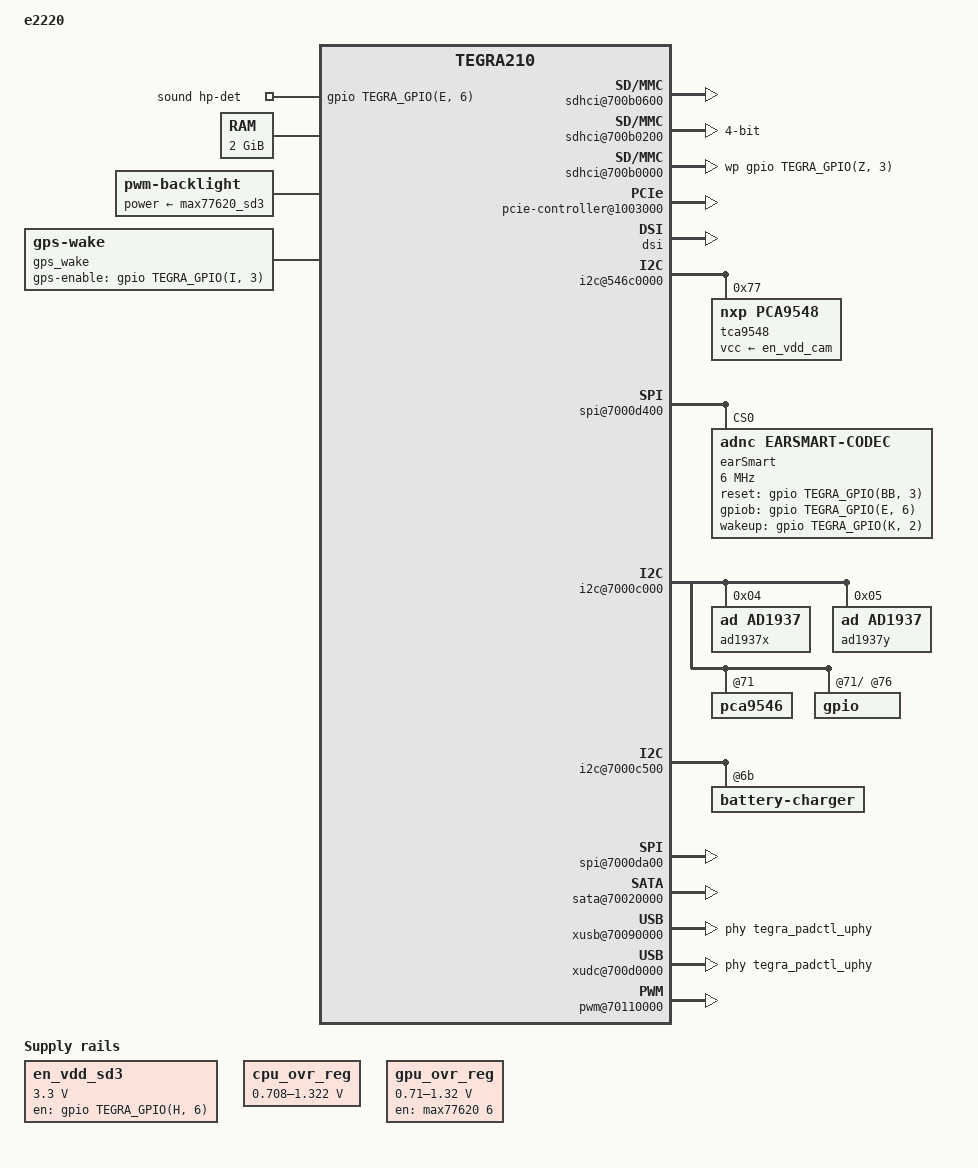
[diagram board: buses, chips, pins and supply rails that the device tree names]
/*
 * T210- DSC
 *
 * arch/arm64/boot/dts/tegra210-ers-e2220-1170-a00-00.dts
 *
 * Copyright (c) 2015-2017, NVIDIA CORPORATION.  All rights reserved.
 *
 * This program is free software; you can redistribute it and/or modify
 * it under the terms of the GNU General Public License as published by
 * the Free Software Foundation; version 2 of the License.
 *
 * This program is distributed in the hope that it will be useful, but WITHOUT
 * ANY WARRANTY; without even the implied warranty of MERCHANTABILITY or
 * FITNESS FOR A PARTICULAR PURPOSE.  See the GNU General Public License for
 * more details.
 *
 * You should have received a copy of the GNU General Public License along
 * with this program; if not, write to the Free Software Foundation, Inc.,
 * 51 Franklin Street, Fifth Floor, Boston, MA  02110-1301, USA.
 *
 */

/dts-v1/;

/memreserve/ 0x80000000 0x00020000;

#include "tegra210-ers-common.dtsi"
#include "ers-platforms/tegra210-ers-extgpio-e2220-1170-a00.dtsi"
#include "ers-platforms/tegra210-ers-power-tree-e2174-1101-a00.dtsi"
#include "ers-platforms/tegra210-ers-e2220-powermon-e2174-1100-a00-00.dtsi"
#include "ers-platforms/tegra210-ers-sensor-e2160-1000-a00.dtsi"
#include "ers-platforms/tegra210-ers-gpio-e2220-1170-a00.dtsi"
#include "ers-platforms/tegra210-ers-pinmux-e2220-1170-a00.dtsi"
#include <t210-common-platforms/tegra210-comms.dtsi>
#include <tegra210-soc/tegra210-sdhci.dtsi>
#include <tegra210-soc/tegra210-audio.dtsi>
#include <panels/panel-j-1440-810-5-8.dtsi>
#include <panels/panel-a-wuxga-8-0.dtsi>
#include <panels/panel-s-wqxga-10-1.dtsi>
#include <panels/panel-a-edp-1080p-14-0.dtsi>
#include <t210-common-platforms/tegra210-ers-hdmi-e2190-1100-a00.dtsi>
#include "ers-platforms/tegra210-ers-dp-e2220-1170-a00.dtsi"
#include <t210-common-platforms/tegra210-ers-keys-e2220-1170-a00.dtsi>
#include "ers-platforms/tegra210-ers-camera-e2249-1002-a00.dtsi"
#include "ers-platforms/tegra210-ers-pwm-fan-e2220-1170-a00.dtsi"
#include <tegra210-soc/tegra210-edp.dtsi>
#include <t210-common-platforms/tegra210-ers-thermal-nct72-e2220-1170-a00.dtsi>
#include <tegra210-soc/tegra210-thermal-Tboard-Tdiode.dtsi>
#include <dt-bindings/sound/tegra-asoc-alt.h>
#include <dt-bindings/platform/t210/t210.h>
#include <dt-bindings/reset/tegra210-car.h>
#include <t210-common-platforms/tegra210-cpufreq.dtsi>
#include <dt-bindings/thermal/tegra210-trips.h>

/ {
	model = "e2220";
	compatible = "nvidia,e2220", "nvidia,tegra210";
	nvidia,boardids = "2220:1100:00;2174:1101:00";
	nvidia,dtsfilename = __FILE__;
	nvidia,proc-boardid = "2220:1100:00";
	nvidia,pmu-boardid = "2174:1101:00";
	nvidia,fastboot-usb-pid = <0x7100>;
	#address-cells = <2>;
	#size-cells = <2>;

	dvfs {
		compatible = "nvidia,tegra210-dvfs";
	};

	firmware {
		android {
			compatible = "android,firmware";
			hardware = "e2220";
		};
	};

	pmc@7000e400 {
		nvidia,invert-interrupt;
		nvidia,restrict-voltage-switch;
		iopad-defaults {
			audio-hv-pads {
				pins = "audio-hv";
				nvidia,power-source-voltage = <TEGRA_IO_PAD_VOLTAGE_1800000UV>;
			};

			spi-hv-pads {
				pins = "spi-hv";
				nvidia,power-source-voltage = <TEGRA_IO_PAD_VOLTAGE_1800000UV>;
			};

			gpio-pads {
				pins = "gpio";
				nvidia,power-source-voltage = <TEGRA_IO_PAD_VOLTAGE_1800000UV>;
			};

			sdmmc-io-pads {
				pins = "sdmmc1", "sdmmc3";
				nvidia,enable-voltage-switching;
			};
		};
	};

	chosen {
		bootargs = "earlycon=uart8250,mmio32,0x70006000";
		stdout-path = &uarta;
	};

	firmware {
		android {
			compatible = "android,firmware";
			hardware = "e2220";
		};
	};

	sdhci@700b0600 {
		vddio_sdmmc-supply = <&max77620_sd3>;
		vddio_sd_slot-supply = <&vdd_3v3>;
		uhs-mask = <0x60>;
		built-in;
		power-off-rail;
		status = "okay";
	};

	sdhci@700b0400 {
		uhs-mask = <0x1c>;
		vddio_sdmmc-supply = <&max77620_sd3>;
		vddio_sd_slot-supply = <&en_vdd_sd3>;
		power-off-rail;
		nvidia,update-pinctrl-settings;
		status = "disabled";
	};

	sdhci@700b0200 {
		nvidia,is-ddr-tap-delay;
		nvidia,ddr-tap-delay = <0>;
		vddio_sdmmc-supply = <&max77620_sd3>;
		vddio_sd_slot-supply = <&vdd_3v3>;
		uhs-mask = <0x8>;
		bus-width = <4>;
		power-off-rail;
		status = "okay";
	};

	sdhci@700b0000 {
		uhs-mask = <0x8>;
		power-off-rail;
		default-drive-type = <1>;
		vddio_sdmmc-supply = <&max77620_ldo2>;
		vddio_sd_slot-supply = <&en_vdd_sd>;
		nvidia,update-pinctrl-settings;
		nvidia,sd-device;
		wp-gpios = <&gpio TEGRA_GPIO(Z, 3) 0>;
		status = "okay";
	};

	pcie-controller@1003000 {
		nvidia,wake-gpio = <&gpio TEGRA_GPIO(A, 2) 0>;
		dvdd-pex-pll-supply = <&max77620_ldo1>;
		l0-dvddio-pex-supply = <&max77620_ldo1>;
		l1-dvddio-pex-supply = <&max77620_ldo1>;
		l2-dvddio-pex-supply = <&max77620_ldo1>;
		l3-dvddio-pex-supply = <&max77620_ldo1>;
		l4-dvddio-pex-supply = <&max77620_ldo1>;
		l5-dvddio-pex-supply = <&max77620_ldo1>;
		l6-dvddio-pex-supply = <&max77620_ldo1>;
		hvdd-pex-pll-e-supply = <&max77620_sd3>;
		l0-hvddio-pex-supply = <&max77620_sd3>;
		l1-hvddio-pex-supply = <&max77620_sd3>;
		l2-hvddio-pex-supply = <&max77620_sd3>;
		l3-hvddio-pex-supply = <&max77620_sd3>;
		l4-hvddio-pex-supply = <&max77620_sd3>;
		l5-hvddio-pex-supply = <&max77620_sd3>;
		l6-hvddio-pex-supply = <&max77620_sd3>;
		vddio-pex-ctl-supply = <&max77620_sd3>;
		status = "okay";
		pci@1,0 {
			nvidia,num-lanes = <4>;
			status = "okay";
		};

		pci@2,0 {
			nvidia,num-lanes = <1>;
			status = "okay";
		};
	};

	host1x {
		/* tegradc.0 */
		dc@54200000 {
			status = "okay";
			nvidia,dc-flags = <TEGRA_DC_FLAG_ENABLED>;
			nvidia,emc-clk-rate = <204000000>;
			nvidia,cmu-enable = <1>;
			nvidia,low-v-win = <0x2>;
			nvidia,fb-bpp = <32>; /* bits per pixel */
			nvidia,fb-flags = <TEGRA_FB_FLIP_ON_PROBE>;
			nvidia,dc-or-node = "/host1x/dsi";
			nvidia,dc-connector = <&dsi>;
		};
		/* tegradc.1 */
		dc@54240000 {
			status = "okay";
			nvidia,dc-flags = <TEGRA_DC_FLAG_ENABLED>;
			nvidia,emc-clk-rate = <300000000>;
			nvidia,fb-bpp = <32>; /* bits per pixel */
			nvidia,fb-flags = <TEGRA_FB_FLIP_ON_PROBE>;
			nvidia,dc-or-node = "/host1x/sor1";
			nvidia,dc-connector = <&sor1>;
		};
		dsi {
			nvidia,dsi-controller-vs = <DSI_VS_1>;
			status = "okay";
			panel-j-1440-810-5-8 {
				nvidia,dsi-dpd-pads = <DSIC_DPD_EN DSID_DPD_EN>;
				nvidia,panel-rst-gpio = <&gpio TEGRA_GPIO(V, 2) 0>; /* PV2 */
				nvidia,panel-bl-pwm-gpio = <&gpio TEGRA_GPIO(V, 0) 0>; /* PV0 */
				nvidia,panel-en-gpio = <&gpio TEGRA_GPIO(V, 1) 0>; /* PV1 */
			};
			panel-a-wuxga-8-0 {
				nvidia,dsi-dpd-pads = <DSIC_DPD_EN DSID_DPD_EN>;
				nvidia,panel-rst-gpio = <&gpio TEGRA_GPIO(V, 2) 0>; /* PV2 */
				nvidia,panel-bl-pwm-gpio = <&gpio TEGRA_GPIO(V, 0) 0>; /* PV0 */
				nvidia,panel-en-gpio = <&gpio TEGRA_GPIO(V, 1) 0>; /* PV1 */
			};
			panel-s-wqxga-10-1 {
				nvidia,panel-rst-gpio = <&gpio TEGRA_GPIO(V, 2) 0>; /* PV2 */
				nvidia,panel-bl-pwm-gpio = <&gpio TEGRA_GPIO(V, 0) 0>; /* PV0 */
				nvidia,panel-en-gpio = <&gpio TEGRA_GPIO(V, 1) 0>; /* PV1 */
			};
		};
		sor {
			status = "okay";
			nvidia,hpd-gpio = <&gpio 230 0>; /*PCC6*/
			panel-a-edp-1080p-14-0 {
				nvidia,panel-bl-pwm-gpio = <&gpio TEGRA_GPIO(V, 0) 0>; /* PV0 */
			};
		};
		dpaux {
			status = "okay";
		};
		sor1 {
			status = "okay";
			hdmi-display {
				display-timings {
					640x480-60Hz {
						clock-frequency = <25200>;
						hactive = <640>;
						vactive = <480>;
						hfront-porch = <16>;
						hback-porch = <48>;
						hsync-len = <96>;
						vfront-porch = <10>;
						vback-porch = <33>;
						vsync-len = <2>;
						nvidia,h-ref-to-sync = <1>;
						nvidia,v-ref-to-sync = <3>;
					};
				};
			};
		};
		dpaux1 {
			status = "okay";
		};

		vi {
			status = "okay";

			avdd_dsi_csi-supply = <&max77620_gpio7>;
		};
	};

	spi@7000d400 {
		status = "okay";
		earSmart: earSmart-codec@0 {
			compatible = "adnc,earSmart-codec";
			reg = <0>;
			spi-max-frequency = <6000000>;
			spi-cpha;

			adnc,reset-gpio = <&gpio TEGRA_GPIO(BB, 3) GPIO_ACTIVE_HIGH>;
			adnc,gpiob-gpio = <&gpio TEGRA_GPIO(E, 6) GPIO_ACTIVE_HIGH>;
			adnc,wakeup-gpio = <&gpio TEGRA_GPIO(K, 2) GPIO_ACTIVE_HIGH>;

			adnc,int-gpio = <(-1)>;
			adnc,gpioa-gpio = <(-1)>;
			adnc,enable_hs_uart_intf = <0>;
			adnc,ext_clk_rate = <0>;
			adnc,debounce_timer = <3>;
			adnc,plug_det_enabled = <1>;
			adnc,mic_det_enabled = <1>;

			adnc,gpio_b_irq_type = <4>;
			adnc,cmd_comp_mode = <0>;

			/* Button Control 1 */
			adnc,btn_press_settling_time = <4>;
			adnc,btn_press_polling_rate = <1>;
			adnc,btn_press_det_act = <1>;

			/* Button Control 2 */
			adnc,double_btn_timer = <(-1)>;
			adnc,mic_det_settling_timer = <(-1)>;

			/* Button Control 3 */
			adnc,long_btn_timer = <(-1)>;
			adnc,adc_btn_mute = <(-1)>;

			/* Button Control 4 */
			adnc,valid_levels = <31>;
			adnc,impd_det_timer = <0>;
		};
	};

	i2c@7000c000 {
		ad1937x: ad193x.0-0004@04 {
			compatible = "ad,ad1937";
			reg = <0x04>;
		};
		ad1937y: ad193x.0-0005@05 {
			compatible = "ad,ad1937";
			reg = <0x05>;
		};
		pca9546@71 {
			i2c@3 {
				gpio@76 {
					default-output-low {
						gpio-hog;
						output-low;
						gpios = <12 0 14 0 15 0>;
						line-name = "default-output-low";
					};

					default-output-high {
						gpio-hog;
						output-high;
						gpios = <5 0 6 0 11 0 13 0>;
						line-name = "default-output-high";
					};
				};
			};
		};
	};

	i2c@7000c500 {
		battery-charger@6b {
			usb0_vbus: vbus {
				regulator-enable-ramp-delay = <260000>;
			};
		};
	};

	adma@702e2000  {
		dma-channels = <10>;
		status = "okay";
	};

	ahub {
		i2s@702d1000 {
			pinctrl-names = "dap_active", "dap_inactive";
			pinctrl-0 = <>;
			pinctrl-1 = <>;
			regulator-supplies = "vdd-1v8-audio-hv", "vdd-1v8-audio-hv-bias";
			vdd-1v8-audio-hv-supply = <&max77620_sd3>;
			vdd-1v8-audio-hv-bias-supply = <&max77620_sd3>;
			fsync-width = <31>;
		};

		i2s@702d1100 {
			pinctrl-names = "dap_active", "dap_inactive";
			pinctrl-0 = <>;
			pinctrl-1 = <>;
			regulator-supplies = "vdd-1v8-spi-hv", "vdd-1v8-spi-hv-bias";
			vdd-1v8-spi-hv-supply = <&max77620_sd3>;
			vdd-1v8-spi-hv-bias-supply = <&max77620_sd3>;
			fsync-width = <0>;
		};

		i2s@702d1300 {
			pinctrl-names = "dap_active", "dap_inactive";
			pinctrl-0 = <>;
			pinctrl-1 = <>;
			regulator-supplies = "vddio-dmic";
			vddio-dmic-supply = <&max77620_sd3>;
			enable-cya; /* enable I2S4_CYA bit to select i2s4b pin */
		};
	};

	sound {
		compatible = "nvidia,tegra-audio-t210ref-mobile-es755";
		nvidia,model = "tegra-snd-t210ref-mobile-es755";
		nvidia,hp-det-gpios = <&gpio TEGRA_GPIO(E, 6) GPIO_ACTIVE_HIGH>;
		nvidia,num-codec-link = <4>;

		nvidia,audio-routing =
			"y Headphone", 	"y OUT",
			"y IN",		"y Mic",
			"k Headphone", 	"k OUT",
			"k IN",		"k Mic",
			"z Headphone", 	"z OUT",
			"z IN",		"z Mic",
			"z IN",		"z OUT";

		nvidia,xbar = <&tegra_axbar>;

		nvidia,dai-link-1 {
			link-name = "earSmart-playback";
			cpu-dai = <&tegra_i2s1>;
			codec-dai = <&earSmart>;
			cpu-dai-name = "I2S1";
			codec-dai-name = "earSmart-porta";
			format = "i2s";
			bitclock-slave;
			frame-slave;
			bitclock-noninversion;
			frame-noninversion;
			bit-format = "s16_le";
			bclk_ratio = <0>;
			srate = <48000>;
			num-channel = <2>;
			name-prefix = "x";
		};
		nvidia,dai-link-2 {
			link-name = "spdif-dit-1";
			cpu-dai = <&tegra_i2s2>;
			codec-dai = <&spdif_dit1>;
			cpu-dai-name = "I2S2";
			codec-dai-name = "dit-hifi";
			format = "dsp_a";
			bitclock-slave;
			frame-slave;
			bitclock-inversion;
			frame-noninversion;
			bit-format = "s16_le";
			bclk_ratio = <4>;
			srate = <8000>;
			num-channel = <1>;
			name-prefix = "y";
		};
		nvidia,dai-link-3 {
			link-name = "spdif-dit-2";
			cpu-dai = <&tegra_i2s3>;
			codec-dai = <&spdif_dit2>;
			cpu-dai-name = "I2S3";
			codec-dai-name = "dit-hifi";
			format = "i2s";
			bitclock-slave;
			frame-slave;
			bitclock-noninversion;
			frame-noninversion;
			bit-format = "s16_le";
			bclk_ratio = <0>;
			srate = <48000>;
			num-channel = <2>;
			name-prefix = "z";
		};
		nvidia,dai-link-4 {
			link-name = "baseband";
			cpu-dai = <&tegra_i2s4>;
			codec-dai = <&spdif_dit3>;
			cpu-dai-name = "I2S4";
			codec-dai-name = "dit-hifi";
			format = "i2s";
			bitclock-slave;
			frame-slave;
			bitclock-noninversion;
			frame-noninversion;
			bit-format = "s16_le";
			bclk_ratio = <0>;
			srate = <16000>;
			num-channel = <2>;
			name-prefix = "k";
		};
	};

	adsp_audio {
		compr-ops = <1>;
		num-plugin = <3>;
		plugin-info-1 {
			plugin-name = "mp3-dec1";
			firmware-name = "nvmp3dec.elf";
			widget-name = "MP3-DEC1";
		};
		plugin-info-2 {
			plugin-name = "mp3-dec2";
			firmware-name = "nvmp3dec.elf";
			widget-name = "MP3-DEC2";
		};
		plugin-info-3 {
			plugin-name = "spkprot";
			firmware-name = "nvspkprot.elf";
			widget-name = "SPKPROT-SW";
		};
	};

	sound_ref {
		compatible = "nvidia,tegra-audio-t210ref";
		nvidia,model = "tegra-snd-t210ref";
		nvidia,num-codec-link = <2>;
		nvidia,num-amx = <2>;
		nvidia,num-adx = <2>;
		nvidia,amx-slot-size = <32 32>;
		nvidia,adx-slot-size = <32 32>;
		nvidia,addr-max9485 = <0>;
		nvidia,amx-slot-map = <
			/* jack 0 */
			TDM_SLOT_MAP(0, 0, 0)
			TDM_SLOT_MAP(0, 0, 0)
			TDM_SLOT_MAP(0, 1, 0)
			TDM_SLOT_MAP(0, 1, 1)
			TDM_SLOT_MAP(0, 0, 0)
			TDM_SLOT_MAP(0, 0, 0)
			TDM_SLOT_MAP(0, 2, 0)
			TDM_SLOT_MAP(0, 2, 1)
			/* jack 1 */
			TDM_SLOT_MAP(0, 0, 0)
			TDM_SLOT_MAP(0, 0, 0)
			TDM_SLOT_MAP(1, 1, 0)
			TDM_SLOT_MAP(1, 1, 1)
			TDM_SLOT_MAP(0, 0, 0)
			TDM_SLOT_MAP(0, 0, 0)
			TDM_SLOT_MAP(1, 2, 0)
			TDM_SLOT_MAP(1, 2, 1)
			/* jack 2 */
			TDM_SLOT_MAP(0, 0, 0)
			TDM_SLOT_MAP(0, 0, 0)
			TDM_SLOT_MAP(2, 1, 0)
			TDM_SLOT_MAP(2, 1, 1)
			TDM_SLOT_MAP(0, 0, 0)
			TDM_SLOT_MAP(0, 0, 0)
			TDM_SLOT_MAP(2, 2, 0)
			TDM_SLOT_MAP(2, 2, 1)
			/* jack 3 */
			TDM_SLOT_MAP(0, 0, 0)
			TDM_SLOT_MAP(0, 0, 0)
			TDM_SLOT_MAP(3, 1, 0)
			TDM_SLOT_MAP(3, 1, 1)
			TDM_SLOT_MAP(0, 0, 0)
			TDM_SLOT_MAP(0, 0, 0)
			TDM_SLOT_MAP(3, 2, 0)
			TDM_SLOT_MAP(3, 2, 1)>;
		nvidia,adx-slot-map = <
			/* jack 0 */
			TDM_SLOT_MAP(0, 0, 0)
			TDM_SLOT_MAP(0, 0, 0)
			TDM_SLOT_MAP(0, 1, 0)
			TDM_SLOT_MAP(0, 1, 1)
			TDM_SLOT_MAP(0, 0, 0)
			TDM_SLOT_MAP(0, 0, 0)
			TDM_SLOT_MAP(0, 2, 0)
			TDM_SLOT_MAP(0, 2, 1)
			/* jack 1 */
			TDM_SLOT_MAP(0, 0, 0)
			TDM_SLOT_MAP(0, 0, 0)
			TDM_SLOT_MAP(1, 1, 0)
			TDM_SLOT_MAP(1, 1, 1)
			TDM_SLOT_MAP(0, 0, 0)
			TDM_SLOT_MAP(0, 0, 0)
			TDM_SLOT_MAP(1, 2, 0)
			TDM_SLOT_MAP(1, 2, 1)
			/* jack 2 */
			TDM_SLOT_MAP(0, 0, 0)
			TDM_SLOT_MAP(0, 0, 0)
			TDM_SLOT_MAP(2, 1, 0)
			TDM_SLOT_MAP(2, 1, 1)
			TDM_SLOT_MAP(0, 0, 0)
			TDM_SLOT_MAP(0, 0, 0)
			TDM_SLOT_MAP(2, 2, 0)
			TDM_SLOT_MAP(2, 2, 1)
			/* jack 3 */
			TDM_SLOT_MAP(0, 0, 0)
			TDM_SLOT_MAP(0, 0, 0)
			TDM_SLOT_MAP(3, 1, 0)
			TDM_SLOT_MAP(3, 1, 1)
			TDM_SLOT_MAP(0, 0, 0)
			TDM_SLOT_MAP(0, 0, 0)
			TDM_SLOT_MAP(3, 2, 0)
			TDM_SLOT_MAP(3, 2, 1)>;

		nvidia,audio-routing =
			"Headphone-x", 	"x DAC1OUT",
			"Headphone-x", 	"x DAC2OUT",
			"Headphone-x", 	"x DAC3OUT",
			"Headphone-x", 	"x DAC4OUT",
			"x ADC1IN",	"LineIn-x",
			"x ADC2IN",	"LineIn-x",

			"Headphone-y", 	"y DAC1OUT",
			"Headphone-y", 	"y DAC2OUT",
			"Headphone-y", 	"y DAC3OUT",
			"Headphone-y", 	"y DAC4OUT",
			"y ADC1IN",	"LineIn-y",
			"y ADC2IN",	"LineIn-y";

		nvidia,xbar = <&tegra_axbar>;

		nvidia,dai-link-1 {
			link-name = "ad-playback-x";
			cpu-dai = <&tegra_i2s1>;
			codec-dai = <&ad1937x>;
			cpu-dai-name = "I2S1";
			codec-dai-name = "ad193x-hifi";
			tx-mask = <0xFF>;
			rx-mask = <0xFF>;
			format = "dsp_a";
			bitclock-slave;
			frame-slave;
			bitclock-noninversion;
			frame-inversion;
			bit-format = "s32_le";
			bclk_ratio = <1>;
			srate = <48000>;
			num-channel = <8>;
			name-prefix = "x";
		};
		nvidia,dai-link-2 {
			link-name = "ad-playback-y";
			cpu-dai = <&tegra_i2s2>;
			codec-dai = <&ad1937y>;
			cpu-dai-name = "I2S2";
			codec-dai-name = "ad193x-hifi";
			tx-mask = <0xFF>;
			rx-mask = <0xFF>;
			format = "dsp_a";
			bitclock-master;
			frame-master;
			bitclock-noninversion;
			frame-inversion;
			bit-format = "s32_le";
			bclk_ratio = <1>;
			srate = <48000>;
			num-channel = <8>;
			name-prefix = "y";
		};
	};

	spi@7000da00 {
		status = "okay";
		spi-max-frequency = <25000000>;
	};

	memory@80000000 {
		device_type = "memory";
		reg = < 0x0 0x80000000 0x0 0x80000000>;
	};

        sata@70020000 {
		status = "okay";
		compatible = "nvidia,tegra210-ahci-sata";
		nvidia,pexp-gpio = <&pca9539_76 11 0>, <&pca9539_76 12 0>;
		nvidia,enable-sata-port;
        };

	regulators {
		en_vdd_sd3: regulator@12 {
			compatible = "regulator-fixed-sync";
			reg = <12>;
			regulator-name = "en-vdd-sd3";
			regulator-min-microvolt = <3300000>;
			regulator-max-microvolt = <3300000>;
			gpio = <&gpio TEGRA_GPIO(H, 6) 0>;
			enable-active-high;
		};
	};

	backlight {
		compatible = "pwm-backlight";
		status = "okay";
		power-supply = <&max77620_sd3>;
		panel-j-1440-810-5-8-bl {
			pwms = <&tegra_pwm 0 29334>;
		};
		panel-a-wuxga-8-0-bl {
			pwms = <&tegra_pwm 0 40161>;
		};
		panel-s-wqxga-10-1-bl {
			pwms = <&tegra_pwm 0 1000000>;
		};
		panel-a-edp-1080p-14-0-bl {
			pwms = <&tegra_pwm 0 1000000>;
		};
	};

	camera-pcl {
		profiles {
			imx214-pcl@x_001a {
				use_of_node = "yes";
				vana-supply = <&max77620_ldo3>;
				vdig-supply = <&vdd_sys_boost>;
				vif-supply = <&en_vdd_cam>;
				af-gpios = <&gpio TEGRA_GPIO(S, 5) 0>;
				reset-gpios = <&gpio TEGRA_GPIO(S, 7) 0>;
				cam1-gpios = <&gpio TEGRA_GPIO(S, 7) 0>;
			};
			dw9714-pcl@x_000c {
				use_of_node = "yes";
				vdd-supply = <&max77620_ldo3>;
				vdd_i2c-supply = <&en_vdd_cam>;
				/* platform data */
				dev_name = "focuser";
				num = <0>;
				sync = <0>;
			};
			as3648-pcl@x_0030 {
				use_of_node = "yes";
				vin-supply = <&vdd_sys_boost>;
				vi2c-supply = <&en_vdd_cam>;
				/* platform data */
				dev_name = "torch";
				num = <0>;
				flash-type = <2>; /* 0-AS3643, 1-AS3647, 2-AS3648 */
				strobe-gpio = <TEGRA_GPIO(S, 6)>;
				strobe-type = <1> ; /* 1=edge, 2=level, 3=i2c */
				/* pin state */
				pin-mask = <0x10>;
				pin-value = <0x10>;
			};
			ov5693-pcl@x_0036 {
				use_of_node = "yes";
				dev_name = "ov5693";
				num = <1>;
				vana-supply = <&max77620_ldo3>;
				vif-supply = <&en_vdd_cam>;
				cam2-gpios = <&gpio TEGRA_GPIO(T, 0) 0>;
			};
			ov5693-pcl@a_0036 {
				use_of_node = "yes";
				dev_name = "ov5693";
				num = <0>;
				vana-supply = <&max77620_ldo3>;
				vif-supply = <&en_vdd_cam>;
				cam2-gpios = <&gpio TEGRA_GPIO(S, 7) 0>;
				cam,use-cam-gpio;
			};
			ov5693@b_0036 {
				use_of_node = "yes";
				dev_name = "ov5693";
				num = <1>;
				vana-supply = <&max77620_ldo3>;
				vif-supply = <&en_vdd_cam>;
				cam2-gpios = <&gpio TEGRA_GPIO(T, 0) 0>;
				cam,use-cam-gpio;
			};
			ov5693-pcl@c_0036 {
				use_of_node = "yes";
				dev_name = "ov5693";
				num = <2>;
				vana-supply = <&max77620_ldo3>;
				vif-supply = <&en_vdd_cam>;
				cam2-gpios = <&gpio TEGRA_GPIO(T, 0) 0>;
				cam,use-cam-gpio;
			};
			ov5693-pcl@d_0036 {
				use_of_node = "yes";
				dev_name = "ov5693";
				num = <3>;
				vana-supply = <&max77620_ldo3>;
				vif-supply = <&en_vdd_cam>;
				cam2-gpios = <&gpio TEGRA_GPIO(S, 7) 0>;
				cam,use-cam-gpio;
			};
			ov5693-pcl@e_0036 {
				use_of_node = "yes";
				dev_name = "ov5693";
				num = <4>;
				vana-supply = <&max77620_ldo3>;
				vif-supply = <&en_vdd_cam>;
				cam2-gpios = <&gpio TEGRA_GPIO(Z, 3) 0>;
				cam,use-cam-gpio;
			};
			ov5693-pcl@f_0036 {
				use_of_node = "yes";
				dev_name = "ov5693";
				num = <5>;
				vana-supply = <&max77620_ldo3>;
				vif-supply = <&en_vdd_cam>;
				cam2-gpios = <&gpio TEGRA_GPIO(T, 1) 0>;
				cam,use-cam-gpio;
			};
		};
		dpd {
			default-enable;
		};
	};

	mailbox@70098000 {
		status = "okay";
	};

	/* Put common control config here */
	pinctrl@7009f000 {
		status = "okay";
		pinctrl-0 = <&tegra_padctl_uphy_pinmux_default>;
		pinctrl-names = "default";
		tegra_padctl_uphy_pinmux_default: pinmux {
			usb2-micro-AB {
				 nvidia,lanes = "otg-0";
				 nvidia,function = "xusb";
				 nvidia,port-cap =
					<TEGRA_PADCTL_PORT_OTG_CAP>;
			};
			usb3-micro-AB {
				nvidia,lanes = "uphy-lane-6";
				nvidia,function = "usb3";
				nvidia,usb3-port = <0x0>;
				nvidia,usb2-map = <0x0>;
				nvidia,port-cap =
					<TEGRA_PADCTL_PORT_OTG_CAP>;
			};
			usb2-std-A-J8130 {
				 nvidia,lanes = "otg-3";
				 nvidia,function = "xusb";
				 nvidia,port-cap =
					<TEGRA_PADCTL_PORT_HOST_ONLY>;
			};
			usb3-std-A-J8130 {
				 nvidia,lanes = "uphy-lane-5";
				 nvidia,function = "usb3";
				 nvidia,usb3-port = <1>;
				 nvidia,usb2-map = <3>;
				 nvidia,port-cap =
					<TEGRA_PADCTL_PORT_HOST_ONLY>;
			};
			usb2-std-A-J8120 {
				 nvidia,lanes = "otg-2";
				 nvidia,function = "xusb";
				 nvidia,port-cap =
					<TEGRA_PADCTL_PORT_HOST_ONLY>;
			};
			usb3-std-A-J8120 {
				 nvidia,lanes = "uphy-lane-4";
				 nvidia,function = "usb3";
				 nvidia,usb3-port = <3>;
				 nvidia,usb2-map = <2>;
				 nvidia,port-cap =
					<TEGRA_PADCTL_PORT_HOST_ONLY>;
			};
			usb2-std-A-J8110 {
				 nvidia,lanes = "otg-1";
				 nvidia,function = "xusb";
				 nvidia,port-cap =
					<TEGRA_PADCTL_PORT_HOST_ONLY>;
			};
			usb3-std-A-J8110 {
				 nvidia,lanes = "uphy-lane-0";
				 nvidia,function = "usb3";
				 nvidia,usb3-port = <2>;
				 nvidia,usb2-map = <1>;
				 nvidia,port-cap =
					<TEGRA_PADCTL_PORT_HOST_ONLY>;
			};
			hsic {
				 nvidia,lanes = "hsic-0";
				 nvidia,function = "hsic";
			};
			sata {
				 nvidia,lanes = "uphy-lane-7";
				 nvidia,function = "sata";
			};
		};
	};

	xusb@70090000 {
		status = "okay";
		extcon-cables = <&id_gpio_extcon 0>;
		extcon-cable-names = "id";
		#extcon-cells = <1>;
		phys = <&tegra_padctl_uphy TEGRA_PADCTL_UPHY_UTMI_P(0)>,
			<&tegra_padctl_uphy TEGRA_PADCTL_UPHY_UTMI_P(1)>,
			<&tegra_padctl_uphy TEGRA_PADCTL_UPHY_UTMI_P(2)>,
			<&tegra_padctl_uphy TEGRA_PADCTL_UPHY_UTMI_P(3)>,
			<&tegra_padctl_uphy TEGRA_PADCTL_UPHY_USB3_P(0)>,
			<&tegra_padctl_uphy TEGRA_PADCTL_UPHY_USB3_P(1)>,
			<&tegra_padctl_uphy TEGRA_PADCTL_UPHY_USB3_P(2)>,
			<&tegra_padctl_uphy TEGRA_PADCTL_UPHY_USB3_P(3)>;
		phy-names = "utmi-0", "utmi-1", "utmi-2", "utmi-3",
				"usb3-0", "usb3-1", "usb3-2", "usb3-3";
		nvidia,pmc-wakeup =
			<&tegra_pmc
				PMC_WAKE_TYPE_EVENT 41 PMC_TRIGGER_TYPE_HIGH>,
			<&tegra_pmc
				PMC_WAKE_TYPE_EVENT 44 PMC_TRIGGER_TYPE_HIGH>;
	};

	xudc@700d0000 {
		extcon-cables = <&bq2419x 0>;
		extcon-cable-names = "vbus";
		#extcon-cells = <1>;
		status = "okay";
		phys =  <&tegra_padctl_uphy TEGRA_PADCTL_UPHY_UTMI_P(0)>,
			<&tegra_padctl_uphy TEGRA_PADCTL_UPHY_USB3_P(0)>;
		phy-names = "usb2", "usb3";
	};

	xotg {
		extcon-cables = <&id_gpio_extcon 0>;
		extcon-cable-names = "id";
		#extcon-cells = <1>;
		status = "disabled";
	};

	gpio-keys {
		home {
			status = "disabled";
		};
	};

	i2c@7000d000 {
		clock-frequency = <1000000>;
	};

	gpu-dvfs-rework {
		status = "disabled";
	};

	host1x {
		i2c@546c0000 {
			tca9548@6_0077 {
				compatible = "nxp,pca9548";
				reg = <0x77>;
				#address-cells = <1>;
				#size-cells = <0>;
				vcc-supply = <&en_vdd_cam>;
				skip_mux_detect;
				force_bus_start = <T210_CAMERA_I2C_MUX_BUS(0)>;
				i2c@0 {
					reg = <0>;
					i2c-mux,deselect-on-exit;
				};
				i2c@1 {
					reg = <1>;
					i2c-mux,deselect-on-exit;
				};
				i2c@2 {
					reg = <2>;
					i2c-mux,deselect-on-exit;
				};
				i2c@3 {
					reg = <3>;
					i2c-mux,deselect-on-exit;
				};
				i2c@4 {
					reg = <4>;
					i2c-mux,deselect-on-exit;
				};
				i2c@5 {
					reg = <5>;
					i2c-mux,deselect-on-exit;
				};
			};
		};
	};

	thermal-zones {
		CPU-therm {
			thermal-zone-params {
				governor-name = "pid_thermal_gov";
				max_err_temp = <9000>;
				max_err_gain = <1000>;
				gain_p = <1000>;
				gain_d = <0>;
				up_compensation = <20>;
				down_compensation = <20>;
			};
			trips {
				cpu_critical {
					temperature = <103000>;
					hysteresis = <0>;
					type = "critical";
					writable;
				};
				cpu_heavy {
					temperature = <99000>;
					hysteresis = <0>;
					type = "hot";
					writable;
				};
				cpu_throttle {
					temperature = <89500>;
					hysteresis = <0>;
					type = "passive";
					writable;
				};
				dfll_cap_trip0: dfll-cap-trip0 {
					temperature = <TEGRA210_DFLL_THERMAL_CAP_0>; /* millicelsius */
					hysteresis = <1000>; /* millicelsius */
					type = "active";
				};
				dfll_cap_trip1: dfll-cap-trip1 {
					temperature = <TEGRA210_DFLL_THERMAL_CAP_1>; /* millicelsius */
					hysteresis = <1000>; /* millicelsius */
					type = "active";
				};
			};
			cooling-maps {
				map0 {
					trip = <&{/thermal-zones/CPU-therm/trips/cpu_critical}>;
					cdev-type = "tegra-shutdown";
					cooling-device = <&{/soctherm@0x700E2000/throttle@critical}
						THERMAL_NO_LIMIT THERMAL_NO_LIMIT>;
				};
				map1 {
					trip = <&{/thermal-zones/CPU-therm/trips/cpu_heavy}>;
					cdev-type = "tegra-heavy";
					cooling-device = <&throttle_heavy 1 1>;
				};
				map2 {
					trip = <&{/thermal-zones/CPU-therm/trips/cpu_throttle}>;
					cdev-type = "cpu-balanced";
					cooling-device = <&{/bthrot_cdev/cpu_balanced}
						THERMAL_NO_LIMIT THERMAL_NO_LIMIT>;
				};
				dfll-cap-map0 {
					trip = <&dfll_cap_trip0>;
					cooling-device = <&dfll_cap 1 1>;
				};
				dfll-cap-map1 {
					trip = <&dfll_cap_trip1>;
					cooling-device = <&dfll_cap 2 2>;
				};
			};
		};
		GPU-therm {
			thermal-zone-params {
				governor-name = "pid_thermal_gov";
				max_err_temp = <9000>;
				max_err_gain = <1000>;
				gain_p = <1000>;
				gain_d = <0>;
				up_compensation = <20>;
				down_compensation = <20>;
			};
			trips {
				gpu_critical {
					temperature = <104000>;
					hysteresis = <0>;
					type = "critical";
					writable;
				};
				gpu_heavy {
					temperature = <101000>;
					hysteresis = <0>;
					type = "hot";
					writable;
				};
				gpu_throttle {
					temperature = <91500>;
					hysteresis = <0>;
					type = "passive";
					writable;
				};
			};
			cooling-maps {
				map0 {
					trip = <&{/thermal-zones/GPU-therm/trips/gpu_critical}>;
					cdev-type = "tegra-shutdown";
					cooling-device = <&{/soctherm@0x700E2000/throttle@critical}
						THERMAL_NO_LIMIT THERMAL_NO_LIMIT>;
				};
				map1 {
					trip = <&{/thermal-zones/GPU-therm/trips/gpu_heavy}>;
					cdev-type = "tegra-heavy";
					cooling-device = <&throttle_heavy 1 1>;
				};
				map2 {
					trip = <&{/thermal-zones/GPU-therm/trips/gpu_throttle}>;
					cdev-type = "gpu-balanced";
					cooling-device = <&{/bthrot_cdev/gpu_balanced}
						THERMAL_NO_LIMIT THERMAL_NO_LIMIT>;
				};
			};
		};
		LCPU-therm {
			thermal-zone-params {
				governor-name = "pid_thermal_gov";
				max_err_temp = <9000>;
				max_err_gain = <1000>;
				gain_p = <1000>;
				gain_d = <0>;
				up_compensation = <20>;
				down_compensation = <20>;
			};
			trips {
				lcpu_critical {
					temperature = <104000>; /* must be same as GPU's critical temp */
					hysteresis = <0>;
					type = "critical";
					writable;
				};
				lcpu_heavy {
					temperature = <98000>;
					hysteresis = <0>;
					type = "hot";
					writable;
				};
				lcpu_throttle {
					temperature = <88500>;
					hysteresis = <0>;
					type = "passive";
					writable;
				};
			};
			cooling-maps {
				map0 {
					trip = <&{/thermal-zones/LCPU-therm/trips/lcpu_critical}>;
					cdev-type = "tegra-shutdown";
					cooling-device = <&{/soctherm@0x700E2000/throttle@critical}
						THERMAL_NO_LIMIT THERMAL_NO_LIMIT>;
				};
				map1 {
					trip = <&{/thermal-zones/LCPU-therm/trips/lcpu_heavy}>;
					cdev-type = "tegra-heavy";
					cooling-device = <&throttle_heavy 1 1>;
				};
				map2 {
					trip = <&{/thermal-zones/LCPU-therm/trips/lcpu_throttle}>;
					cdev-type = "cpu-balanced";
					cooling-device = <&{/bthrot_cdev/cpu_balanced}
						THERMAL_NO_LIMIT THERMAL_NO_LIMIT>;
				};
			};
		};
		PLL-therm {
			thermal-zone-params {
				governor-name = "pid_thermal_gov";
				max_err_temp = <9000>;
				max_err_gain = <1000>;
				gain_p = <1000>;
				gain_d = <0>;
				up_compensation = <20>;
				down_compensation = <20>;
			};
		};
		Tboard_tegra {
			status = "okay";
		};
		Tdiode_tegra {
			status = "okay";
			trips {
				core_dvfs_floor_trip0: core_dvfs_floor_trip0 {
					temperature = <15000>;
					hysteresis = <1000>;
					type = "active";
				};

				core_dvfs_cap_trip0: core_dvfs_cap_trip0 {
					temperature = <86000>;
					hysteresis = <1000>;
					type = "active";
				};

				dfll_floor_trip0: dfll-floor-trip0 {
					temperature = <TEGRA210_DFLL_THERMAL_FLOOR_0>; /* millicelsius */
					hysteresis = <1000>; /* millicelsius */
					type = "active";
				};
			};
			cooling-maps {
				core_dvfs_floor_map0 {
					trip = <&core_dvfs_floor_trip0>;
					cooling-device = <&core_dvfs_floor 1 1>;
				};
				core_dvfs_cap_map0 {
					trip = <&core_dvfs_cap_trip0>;
					cooling-device = <&core_dvfs_cap 1 1>;
				};

				dfll-floor-map0 {
					trip = <&dfll_floor_trip0>;
					cooling-device = <&dfll_floor 1 1>;
				};
			};
		};
		AO-therm {
			status = "okay";
		};
	};

	soctherm@0x700E2000 {
		throttle-cfgs {
			throttle_oc1: oc1 {
				nvidia,priority = <50>;
				nvidia,polarity-active-low = <1>;
				nvidia,count-threshold = <100>;
				nvidia,alarm-filter = <5100000>;
				nvidia,alarm-period = <0>;
				nvidia,cpu-throt-percent = <75>;
				nvidia,gpu-throt-level =
					<TEGRA_SOCTHERM_THROT_LEVEL_MED>;
			};
		};
	};

	serial@70006200 {
		dma-names = "tx";
		nvidia,adjust-baud-rates = <921600 921600 100>;
	};

	pwm@7000a000 {
		nvidia,no-clk-sleeping-in-ops;
	};

	pwm@70110000 {
		pwm-regulator = <&cpu_ovr_reg>;
		status = "okay";
	};

	pwm_regulators {
		compatible = "simple-bus";
		#address-cells = <1>;
		#size-cells = <0>;

		cpu_ovr_reg: pwm-regulator@0 {
			status = "okay";
			reg = <0>;
			compatible = "pwm-regulator";
			pwms = <&tegra_pwm_dfll 0 2500>;
			regulator-name = "vdd-cpu";
			regulator-min-microvolt = <708000>;
			regulator-max-microvolt = <1322400>;
			regulator-always-on;
			voltage-table =
				<708000 0>, <727200 1>, <746400 2>,
				<765600 3>, <784800 4>, <804000 5>,
				<823200 6>, <842400 7>, <861600 8>,
				<880800 9>, <900000 10>, <919200 11>,
				<938400 12>, <957600 13>, <976800 14>,
				<996000 15>, <1015200 16>, <1034400 17>,
				<1053600 18>, <1072800 19>, <1092000 20>,
				<1111200 21>, <1130400 22>, <1149600 23>,
				<1168800 24>, <1188000 25>, <1207200 26>,
				<1226400 27>, <1245600 28>, <1264800 29>,
				<1284000 30>, <1303200 31>, <1322400 32>;
		};

		gpu_ovr_reg: pwm-regulator@1 {
			status = "okay";
			reg = <1>;
			compatible = "pwm-regulator";
			pwms = <&tegra_pwm 1 8000>;
			regulator-name = "vdd-gpu";
			regulator-min-microvolt = <710000>;
			regulator-max-microvolt = <1320000>;
			regulator-init-microvolt = <1000000>;
			regulator-n-voltages = <62>;
			regulator-enable-ramp-delay = <2000>;
			enable-gpio = <&max77620 6 0>;
			regulator-settling-time-us = <160>;
		};
	};

	clock@70110000 {
		status = "okay";
		vdd-cpu-supply = <&cpu_ovr_reg>;
		nvidia,pwm-to-pmic;
		nvidia,init-uv = <1000000>;
		nvidia,align-step-uv = <19200>; /* 19.2mv */
		nvidia,align-offset-uv = <708000>; /* 708mv */
		nvidia,sample-rate = <25000>;
		nvidia,droop-ctrl = <0x00000f00>;
		nvidia,force-mode = <1>;
		nvidia,cf = <6>;
		nvidia,ci = <0>;
		nvidia,cg = <2>;
		nvidia,idle-override;
	};

	dfll_cap: dfll-cdev-cap {
		compatible = "nvidia,tegra-dfll-cdev-action";
		act-dev = <&tegra_clk_dfll>;
		cdev-type = "DFLL-cap";
		#cooling-cells = <2>; /* min followed by max */
	};

	dfll_floor: dfll-cdev-floor {
		compatible = "nvidia,tegra-dfll-cdev-action";
		act-dev = <&tegra_clk_dfll>;
		cdev-type = "DFLL-floor";
		#cooling-cells = <2>; /* min followed by max */
	};

	cpus {
		cpu@0 {
			clocks = <&tegra_car TEGRA210_CLK_CCLK_G>,
				 <&tegra_car TEGRA210_CLK_CCLK_LP>,
				 <&tegra_car TEGRA210_CLK_PLL_X>,
				 <&tegra_car TEGRA210_CLK_PLL_P_OUT4>,
				 <&tegra_clk_dfll>;
			clock-names = "cpu_g", "cpu_lp", "pll_x", "pll_p", "dfll";
			clock-latency = <300000>;
		};
	};

	gps_wake {
		compatible = "gps-wake";
		gps-enable-gpio = <&gpio TEGRA_GPIO(I, 3) 0>;
		status = "okay";
	};
};
